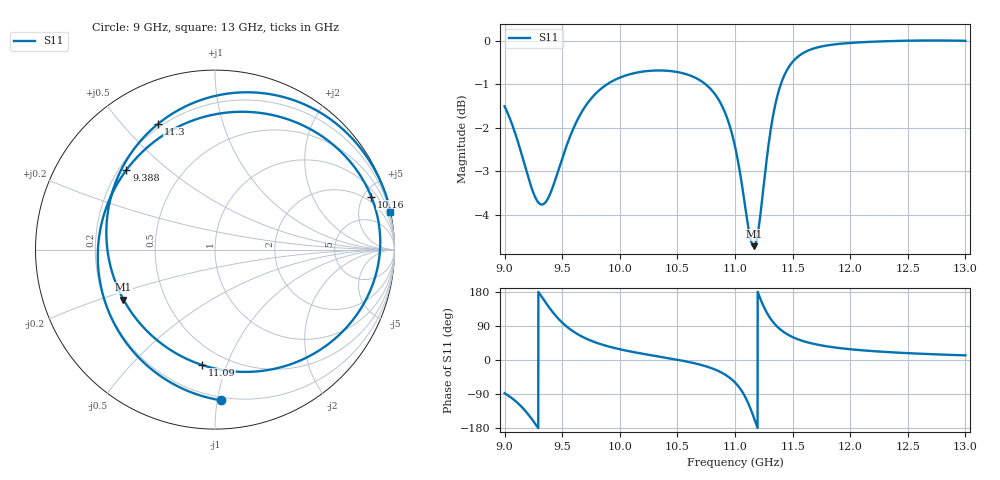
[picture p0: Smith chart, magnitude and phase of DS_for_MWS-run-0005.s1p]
! TOUCHSTONE file generated by CST DESIGN STUDIO
! Date and time: Tue Feb  4 18:21:11 2025
! Project name: C:\Work\MatlabApps\UnitCellOptimizationMatlab\CST\unitcell.cst
! Tree item: Tasks\Sweep1\SPara1\S-Parameters
! Header version: 2024
! Port assignment regex: !\s*Touchstone port\s*([0-9]+)\s*=\s*(CST MWS port|CST DES external port|CST DES block port)\s*(.+)\s* \(\"(.*)\"\)(\s*mode\s*([0-9]+))?.*
! Touchstone port assignment:
! Touchstone port 1 = CST DES external port 1 ("")
# GHz S MA R 50
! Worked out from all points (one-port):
!   4001 points, 9 GHz to 13 GHz, reference 50 ohm
!   lowest |S11| = -4.7 dB at 11.16 GHz (marker M1), VSWR 3.77, Z = 14 - j11.8 ohm
!   |S11| at or under -10 dB: nowhere
!   S11 on the Smith chart (normalised r, x): 9 GHz: 0.18, -1.02; 9.388 GHz: 0.23, +0.37; 10.16 GHz: 1.49, +5.68; 11.09 GHz: 0.37, -0.82; 11.3 GHz: 0.18, +0.63; 13 GHz: 0.03, +9.35
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9  0.8405 -87.7
9.125  0.7581 -116.7
9.24  0.6742 -157.4
9.312  0.649 171.2
9.388  0.6637 138.0
9.5  0.7324 98.8
9.593  0.7905 76.0
9.721  0.848 54.7
9.847  0.8826 40.6
10  0.9067 28.3
10.157  0.9193 18.7
10.5  0.9202 0.7
10.819  0.8704 -24.2
10.919  0.8233 -39.4
11  0.7563 -59.3
11.087  0.6467 -96.5
11.125  0.6008 -121.2
11.163  0.581 -151.4
11.194  0.5966 -177.6
11.224  0.6372 158.6
11.262  0.7063 133.0
11.297  0.7692 114.3
11.376  0.8722 85.3
11.5  0.9452 60.5
11.692  0.98 42.0
12  0.9937 28.4
12.5  0.9996 18.1
13  0.9993 12.2
